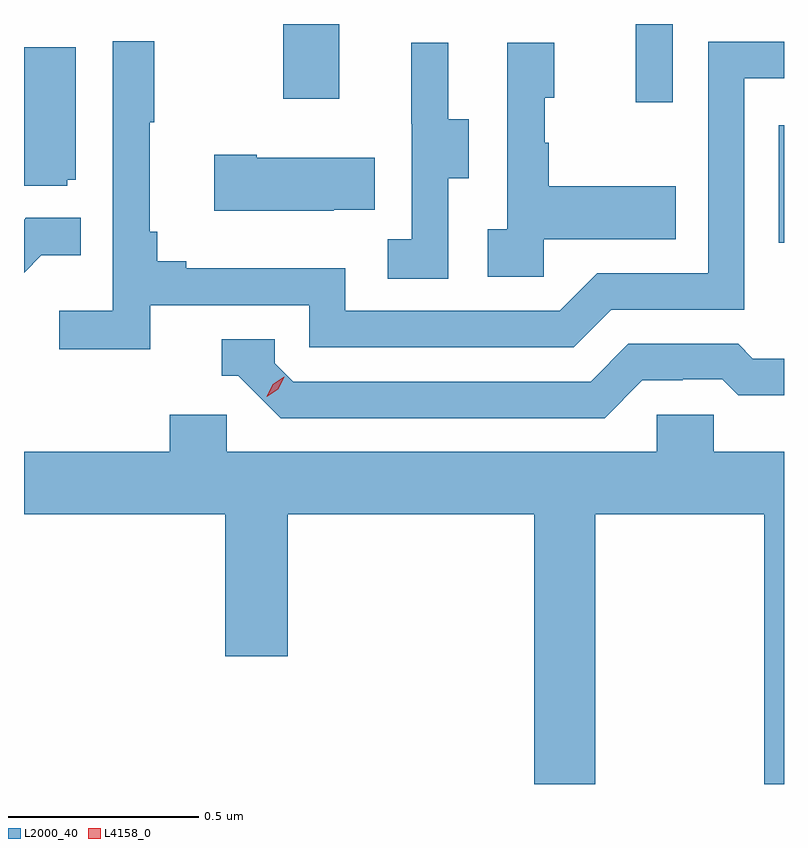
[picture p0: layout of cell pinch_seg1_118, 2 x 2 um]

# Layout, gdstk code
import gdstk
lib = gdstk.Library(unit=1e-6, precision=1e-09)
def R(c, l, rs):  # rectangles x0, y0, x1, y1
    for r in rs: c.add(gdstk.rectangle(r[:2], r[2:], *l))
def P(c, l, *ps):  # polygons
    for p in ps: c.add(gdstk.Polygon(p, *l))
L2000_40 = (2000, 40)
L4158_0 = (4158, 0)

pinch_seg1_118 = lib.new_cell('pinch_seg1_118')
R(pinch_seg1_118, L2000_40, [(1065.564,563.103,1065.578,563.412), (1065.188,563.472,1065.285,563.678), (1064.26,563.481,1064.407,563.678)])
P(pinch_seg1_118, L2000_40, [(1063.91,562.938),(1064.328,562.938),(1064.328,562.827),(1065.025,562.827),(1065.124,562.926),(1065.474,562.926),(1065.474,563.535),(1065.578,563.535),(1065.578,563.631),(1065.378,563.631),(1065.378,563.022),(1065.087,563.022),(1064.988,562.923),(1064.424,562.923),(1064.424,563.035),(1064.005,563.035),(1064.005,563.054),(1063.928,563.054),(1063.928,563.131),(1063.909,563.131),(1063.909,563.419),(1063.921,563.419),(1063.921,563.632),(1063.812,563.632),(1063.812,562.924),(1063.671,562.924),(1063.671,562.822),(1063.91,562.822)],
  [(1064.694,563.272),(1064.749,563.272),(1064.749,563.427),(1064.695,563.427),(1064.695,563.629),(1064.597,563.629),(1064.597,563.415),(1064.598,563.415),(1064.598,563.111),(1064.535,563.111),(1064.535,563.008),(1064.694,563.008)],
  [(1064.946,563.111),(1065.293,563.111),(1065.293,563.251),(1064.959,563.251),(1064.959,563.366),(1064.949,563.366),(1064.949,563.484),(1064.974,563.484),(1064.974,563.629),(1064.85,563.629),(1064.85,563.138),(1064.799,563.138),(1064.799,563.013),(1064.946,563.013)],
  [(1063.692,563.268),(1063.714,563.268),(1063.714,563.617),(1063.578,563.617),(1063.578,563.253),(1063.692,563.253)],
  [(1064.393,563.189),(1064.501,563.189),(1064.501,563.326),(1064.191,563.326),(1064.191,563.334),(1064.079,563.334),(1064.079,563.186),(1064.393,563.186)],
  [(1063.623,563.069),(1063.727,563.069),(1063.727,563.168),(1063.583,563.168),(1063.578,563.163),(1063.578,563.024)],
  [(1065.205,562.74),(1065.312,562.74),(1065.312,562.743),(1065.415,562.743),(1065.457,562.701),(1065.578,562.701),(1065.578,562.797),(1065.496,562.797),(1065.457,562.836),(1065.168,562.836),(1065.069,562.737),(1064.286,562.737),(1064.238,562.785),(1064.238,562.848),(1064.099,562.848),(1064.099,562.752),(1064.142,562.752),(1064.253,562.641),(1065.106,562.641)],
  [(1065.081,562.388),(1065.526,562.388),(1065.526,561.678),(1065.578,561.678),(1065.578,562.552),(1065.393,562.552),(1065.393,562.65),(1065.243,562.65),(1065.243,562.552),(1064.112,562.552),(1064.112,562.65),(1063.961,562.65),(1063.961,562.552),(1063.578,562.552),(1063.578,562.388),(1064.108,562.388),(1064.108,562.014),(1064.272,562.014),(1064.272,562.388),(1064.921,562.388),(1064.921,561.678),(1065.081,561.678)])
P(pinch_seg1_118, L4158_0, [(1064.217,562.697),(1064.217,562.697),(1064.232,562.73),(1064.263,562.75),(1064.263,562.75),(1064.263,562.749),(1064.247,562.717),(1064.217,562.697)])

lib.write_gds('pinch_seg1_118.gds')
